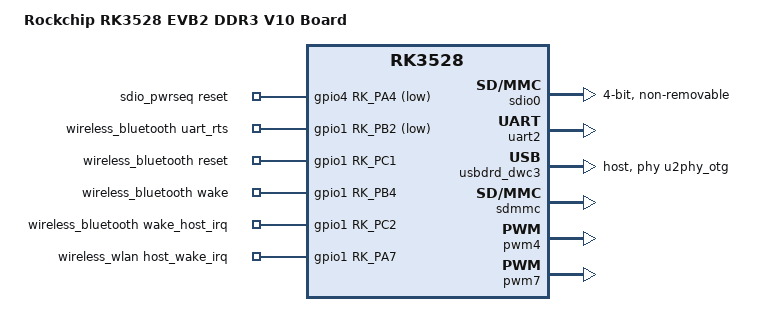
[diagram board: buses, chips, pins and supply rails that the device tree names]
// SPDX-License-Identifier: (GPL-2.0+ OR MIT)
/*
 * Copyright (c) 2022 Rockchip Electronics Co., Ltd.
 *
 */

/dts-v1/;

#include "rk3528.dtsi"
#include "rk3528-evb.dtsi"

/ {
	model = "Rockchip RK3528 EVB2 DDR3 V10 Board";
	compatible = "rockchip,rk3528-evb2-ddr3-v10", "rockchip,rk3528";

	sdio_pwrseq: sdio-pwrseq {
		compatible = "mmc-pwrseq-simple";
		pinctrl-names = "default";
		pinctrl-0 = <&wifi_enable_h &clkm1_32k_out>;
		reset-gpios = <&gpio4 RK_PA4 GPIO_ACTIVE_LOW>;
	};

	wireless_bluetooth: wireless-bluetooth {
		compatible = "bluetooth-platdata";
		//wifi-bt-power-toggle;
		uart_rts_gpios = <&gpio1 RK_PB2 GPIO_ACTIVE_LOW>;
		pinctrl-names = "default", "rts_gpio";
		pinctrl-0 = <&uart2m1_rtsn>;
		pinctrl-1 = <&uart2m1_gpios>;
		BT,reset_gpio    = <&gpio1 RK_PC1 GPIO_ACTIVE_HIGH>;
		BT,wake_gpio     = <&gpio1 RK_PB4 GPIO_ACTIVE_HIGH>;
		BT,wake_host_irq = <&gpio1 RK_PC2 GPIO_ACTIVE_HIGH>;
		status = "okay";
	};

	wireless_wlan: wireless-wlan {
		compatible = "wlan-platdata";
		rockchip,grf = <&grf>;
		wifi_chip_type = "ap6275s";
		pinctrl-names = "default";
		pinctrl-0 = <&wifi_host_wake_irq>;
		WIFI,host_wake_irq = <&gpio1 RK_PA7 GPIO_ACTIVE_HIGH>;
		status = "okay";
	};
};

&sdio0 {
	max-frequency = <200000000>;
	no-sd;
	no-mmc;
	supports-sdio;
	bus-width = <4>;
	disable-wp;
	cap-sd-highspeed;
	cap-sdio-irq;
	keep-power-in-suspend;
	non-removable;
	mmc-pwrseq = <&sdio_pwrseq>;
	pinctrl-names = "default";
	pinctrl-0 = <&sdio0_bus4 &sdio0_cmd &sdio0_clk>;
	sd-uhs-sdr104;
	status = "okay";
};

&uart2 {
	status = "okay";
	pinctrl-names = "default";
	pinctrl-0 = <&uart2m1_xfer &uart2m1_ctsn>;
};

&usbdrd_dwc3 {
	phys = <&u2phy_otg>;
	phy-names = "usb2-phy";
	maximum-speed = "high-speed";
	snps,dis_u2_susphy_quirk;
	snps,usb2-lpm-disable;
};

&pinctrl {
	sdio-pwrseq {
		wifi_enable_h: wifi-enable-h {
			rockchip,pins = <4 RK_PA4 RK_FUNC_GPIO &pcfg_pull_none>;
		};

		wifi_32k: wifi-32k {
			rockchip,pins = <1 RK_PC3 1 &pcfg_pull_none>;
		};
	};

	wireless-wlan {
		wifi_host_wake_irq: wifi-host-wake-irq {
			rockchip,pins = <1 RK_PA7 RK_FUNC_GPIO &pcfg_pull_down>;
		};
	};

	wireless-bluetooth {
		uart2m1_gpios: uart2m1-gpios {
			rockchip,pins = <1 RK_PB2 RK_FUNC_GPIO &pcfg_pull_none>;
		};
	};
};
&sdmmc {
	status = "okay";
};

&gmac1 {
	status = "disabled";
};


&uart3 {
	status = "disabled";
};

&pwm0 {
	status = "disabled";
};

&pwm1 {
	status = "disabled";
};

&pwm4 {
	status = "okay";
};

&pwm7 {
	status = "okay";
};

&vdd_cpu{
	pwms = <&pwm7 0 5000 1>;
};

&vdd_gpu{
	pwms = <&pwm4 0 5000 1>;
};

&usbdrd_dwc3 {
	dr_mode = "host";
	extcon = <&usb2phy>;
	status = "okay";
};
